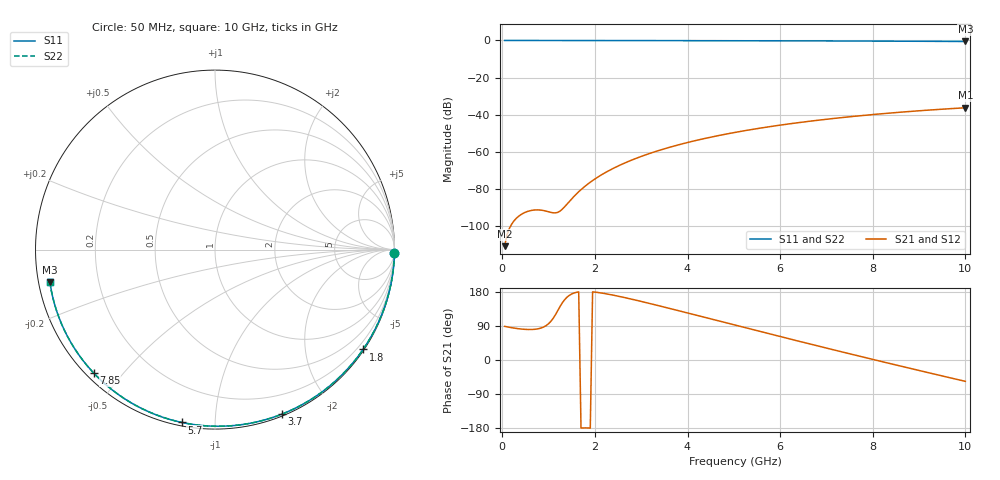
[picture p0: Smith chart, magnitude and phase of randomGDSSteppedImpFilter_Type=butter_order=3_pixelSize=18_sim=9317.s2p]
! freq	dB(S11)	phase(S11)	dB(S12)	phase(S12)
!  dB(S21)	phase(S21)	dB(S22)	phase(S22)
!S-par simulation data
#  GHz  S  DB  R 50
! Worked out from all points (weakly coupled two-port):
!   200 points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, 50 MHz to 10 GHz, reference 50 ohm
!   highest |S21| = -36.21 dB at 10 GHz (marker M1); lowest = -110.6 dB at 50 MHz (marker M2)
!   lowest |S11| = -0.6 dB at 10 GHz (marker M3), VSWR 31.11, Z = 1.62 - j4.91 ohm
!   |S11| at or under -10 dB: nowhere
!   |S22| runs from -0.6 to 0.0 dB; largest |S21 - S12| = 0
!   S11 on the Smith chart (normalised r, x): 50 MHz: open; 1.8 GHz: 0.03, -3.27; 3.7 GHz: 0.02, -1.48; 5.7 GHz: 0.02, -0.82; 7.85 GHz: 0.02, -0.42; 10 GHz: 0.03, -0.10
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0.05  -0.00 -1.0  -110.64 88.7  -110.64 88.7  -0.00 -1.0
0.45  -0.01 -8.6  -92.98 81.2  -92.98 81.2  -0.01 -8.6
0.85  -0.02 -16.2  -91.30 84.9  -91.30 84.9  -0.02 -16.2
1.7  -0.04 -32.1  -80.24 -179.5  -80.24 -179.5  -0.04 -32.1
1.75  -0.04 -33.1  -79.16 -179.2  -79.16 -179.2  -0.04 -33.1
1.8  -0.04 -34.0  -78.14 -179.1  -78.14 -179.1  -0.04 -34.0
1.95  -0.05 -36.8  -75.35 179.8  -75.35 179.8  -0.05 -36.8
2.1  -0.05 -39.5  -72.90 177.5  -72.90 177.5  -0.05 -39.5
2.45  -0.06 -45.9  -68.13 169.8  -68.13 169.8  -0.06 -45.9
2.9  -0.07 -53.9  -63.30 157.5  -63.30 157.5  -0.07 -53.9
3.4  -0.08 -62.7  -59.02 142.6  -59.02 142.6  -0.08 -62.7
3.7  -0.09 -67.9  -56.84 133.4  -56.84 133.4  -0.09 -67.9
4.35  -0.11 -78.9  -52.84 113.2  -52.84 113.2  -0.11 -78.9
5.05  -0.14 -90.5  -49.34 91.4  -49.34 91.4  -0.14 -90.5
5.7  -0.17 -101.0  -46.64 71.2  -46.64 71.2  -0.17 -101.0
6.2  -0.20 -108.9  -44.85 55.8  -44.85 55.8  -0.20 -108.9
6.7  -0.23 -116.7  -43.25 40.5  -43.25 40.5  -0.23 -116.7
7.25  -0.27 -125.2  -41.69 23.9  -41.69 23.9  -0.27 -125.2
7.85  -0.32 -134.5  -40.20 6.0  -40.20 6.0  -0.32 -134.5
8.35  -0.36 -142.3  -39.09 -8.8  -39.09 -8.8  -0.36 -142.3
9.2  -0.46 -155.7  -37.46 -33.5  -37.46 -33.5  -0.46 -155.7
10  -0.56 -168.8  -36.21 -56.4  -36.21 -56.4  -0.56 -168.8
